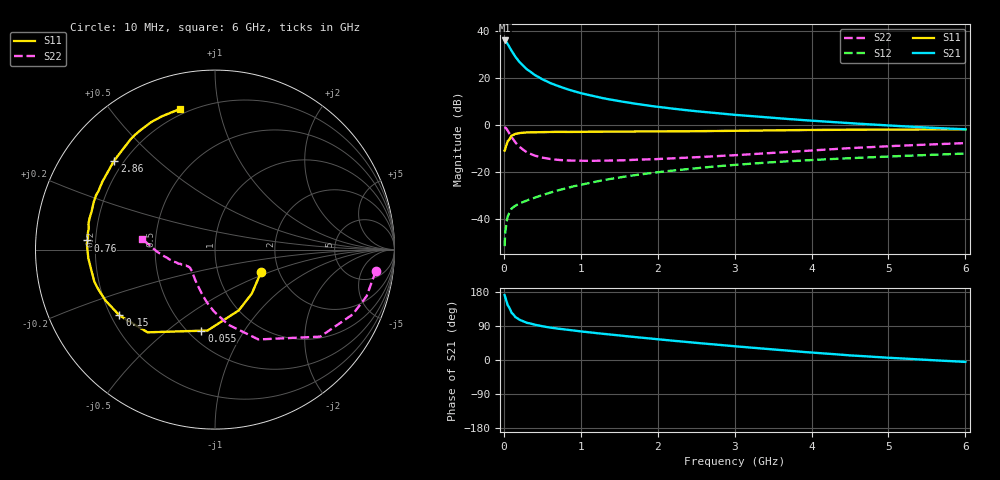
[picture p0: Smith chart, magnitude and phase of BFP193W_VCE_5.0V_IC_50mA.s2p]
! Infineon Technologies  Discrete & RF Semiconductors
! BFP193W
! VCE = 5.0 V,  IC =  50 mA
! Common Emitter S-Parameters:  Jan 2016
# GHz  S  MA  R  50
!  f  S11  S21  S12  S22
! GHz  MAG  ANG  MAG  ANG  MAG  ANG  MAG  ANG
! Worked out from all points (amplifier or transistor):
!   210 points, 10 MHz to 6 GHz, reference 50 ohm
!   highest |S21| = 36.1 dB at 10 MHz (marker M1)
!   |S21| within 3 dB of that: start of sweep to 75.49 MHz
!   unconditionally stable (mu >= 1): 656.8 MHz to 4.234 GHz
!   at 185 MHz: K = 0.53, MSG = 30.7 dB, |S12| = -33.8 dB
!   at 1.52 GHz: K = 1.12, MAG = 14.1 dB, |S12| = -22.3 dB
!   at 6 GHz: K = 0.95, MSG = 5.2 dB, |S12| = -12.2 dB
!   S11 on the Smith chart (normalised r, x): 10 MHz: 1.61, -0.45; 55 MHz: 0.58, -0.66; 150 MHz: 0.23, -0.29; 760 MHz: 0.17, +0.03; 2.86 GHz: 0.16, +0.37; 6 GHz: 0.17, +0.77
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0.01  0.2856 -26.5  63.67 171.2  0.0026 83.9  0.904 -7.6
0.02  0.3198 -50.1  62.19 164.4  0.0054 73.1  0.8836 -17.1
0.03  0.3638 -68.7  59.97 157.3  0.0073 72.5  0.8479 -25.2
0.05  0.4529 -95.3  53.44 144.9  0.0112 63.1  0.7609 -39.6
0.055  0.4582 -99.5  51.72 143.4  0.0117 61.2  0.7357 -41.4
0.1  0.5947 -129.2  38.39 124.8  0.0165 49.2  0.556 -64.2
0.15  0.6467 -145.5  28.54 113.2  0.019 45.4  0.4253 -79.9
0.2  0.6719 -154.8  22.33 106.5  0.0211 45.8  0.3463 -90.7
0.24  0.6827 -159.6  19.12 102.9  0.0224 46.4  0.3067 -97.0
0.3  0.6957 -165.2  15.4 98.2  0.0246 48.0  0.2611 -105.6
0.4  0.6993 -171.6  11.71 93.0  0.0281 51.1  0.2225 -115.6
0.5  0.7075 -176.1  9.456 88.9  0.0319 54.7  0.2017 -123.2
0.6  0.7107 -179.6  7.898 85.6  0.0359 56.6  0.1886 -129.1
0.76  0.7123 175.9  6.312 81.4  0.0427 59.1  0.1775 -135.1
1.02  0.7144 170.0  4.699 75.1  0.054 61.3  0.173 -142.0
1.4  0.7197 162.8  3.452 66.8  0.0714 62.0  0.1756 -147.3
2.02  0.7286 151.8  2.421 54.3  0.0991 59.5  0.1889 -152.1
2.86  0.7485 138.5  1.731 38.9  0.1353 54.0  0.2211 -159.8
3.1  0.7541 134.9  1.601 34.6  0.145 52.2  0.2323 -162.5
4.1  0.7851 121.1  1.207 18.2  0.1825 44.4  0.2928 -173.7
5.1  0.7996 111.0  0.956 4.9  0.216 37.5  0.3588 176.9
6  0.8076 103.9  0.81 -5.0  0.2465 32.0  0.4114 171.5
